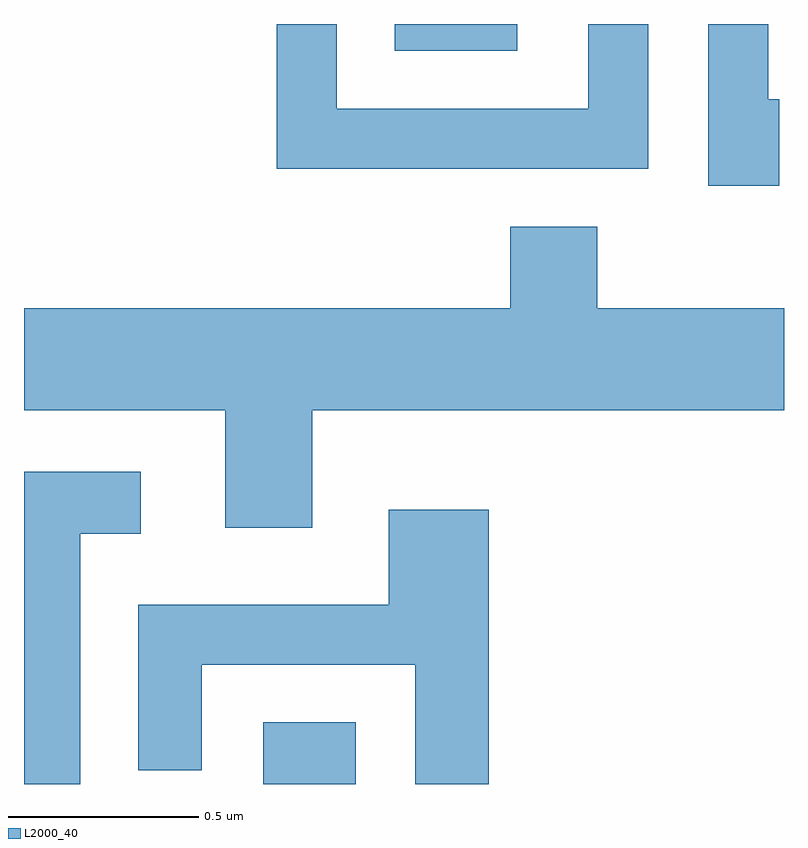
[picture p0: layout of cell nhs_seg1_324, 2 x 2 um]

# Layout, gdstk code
import gdstk
lib = gdstk.Library(unit=1e-6, precision=1e-09)
def R(c, l, rs):  # rectangles x0, y0, x1, y1
    for r in rs: c.add(gdstk.rectangle(r[:2], r[2:], *l))
def P(c, l, *ps):  # polygons
    for p in ps: c.add(gdstk.Polygon(p, *l))
L2000_40 = (2000, 40)

nhs_seg1_324 = lib.new_cell('nhs_seg1_324')
R(nhs_seg1_324, L2000_40, [(188.241,889.712,188.484,889.874), (188.586,891.641,188.909,891.712)])
P(nhs_seg1_324, L2000_40, [(189.599,891.514),(189.569,891.514),(189.569,891.712),(189.411,891.712),(189.411,891.286),(189.599,891.286)],
  [(189.254,891.712),(189.096,891.712),(189.096,891.489),(188.434,891.489),(188.434,891.712),(188.276,891.712),(188.276,891.331),(189.254,891.331)],
  [(188.369,890.696),(189.611,890.696),(189.611,890.964),(189.119,890.964),(189.119,891.179),(188.891,891.179),(188.891,890.964),(187.611,890.964),(187.611,890.696),(188.141,890.696),(188.141,890.386),(188.369,890.386)],
  [(187.759,890.371),(187.918,890.371),(187.918,890.534),(187.611,890.534),(187.611,889.712),(187.759,889.712)],
  [(188.834,890.434),(188.571,890.434),(188.571,890.184),(187.911,890.184),(187.911,889.748),(188.079,889.748),(188.079,890.026),(188.641,890.026),(188.641,889.712),(188.834,889.712)])

lib.write_gds('nhs_seg1_324.gds')
